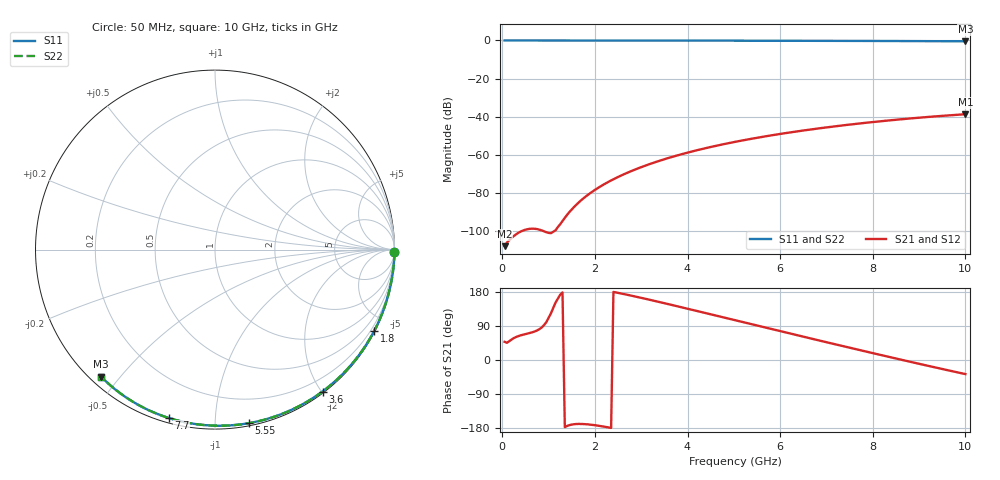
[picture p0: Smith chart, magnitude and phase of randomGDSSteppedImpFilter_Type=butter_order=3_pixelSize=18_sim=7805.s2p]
! freq	dB(S11)	phase(S11)	dB(S12)	phase(S12)
!  dB(S21)	phase(S21)	dB(S22)	phase(S22)
!S-par simulation data
#  GHz  S  DB  R 50
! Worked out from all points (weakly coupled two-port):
!   200 points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, 50 MHz to 10 GHz, reference 50 ohm
!   highest |S21| = -38.65 dB at 10 GHz (marker M1); lowest = -107.8 dB at 50 MHz (marker M2)
!   lowest |S11| = -0.4 dB at 10 GHz (marker M3), VSWR 39.48, Z = 1.52 - j22.3 ohm
!   |S11| at or under -10 dB: nowhere
!   |S22| runs from -0.4 to 0.0 dB; largest |S21 - S12| = 0
!   S11 on the Smith chart (normalised r, x): 50 MHz: open; 1.8 GHz: 0.04, -4.16; 3.6 GHz: 0.02, -2.01; 5.55 GHz: 0.02, -1.21; 7.7 GHz: 0.02, -0.76; 10 GHz: 0.03, -0.45
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0.05  -0.00 -0.8  -107.77 48.0  -107.77 48.0  -0.00 -0.8
0.9  -0.02 -13.6  -99.99 92.0  -99.99 92.0  -0.02 -13.6
1.75  -0.03 -26.3  -82.75 -169.0  -82.75 -169.0  -0.03 -26.3
1.8  -0.03 -27.0  -81.78 -169.4  -81.78 -169.4  -0.03 -27.0
1.9  -0.04 -28.5  -79.96 -170.5  -79.96 -170.5  -0.04 -28.5
2.05  -0.04 -30.7  -77.51 -172.9  -77.51 -172.9  -0.04 -30.7
2.25  -0.04 -33.6  -74.63 -177.0  -74.63 -177.0  -0.04 -33.6
2.45  -0.05 -36.5  -72.09 178.4  -72.09 178.4  -0.05 -36.5
2.65  -0.05 -39.4  -69.83 173.4  -69.83 173.4  -0.05 -39.4
3  -0.06 -44.4  -66.36 164.0  -66.36 164.0  -0.06 -44.4
3.4  -0.07 -50.1  -62.98 152.8  -62.98 152.8  -0.07 -50.1
3.6  -0.07 -52.9  -61.48 147.0  -61.48 147.0  -0.07 -52.9
3.9  -0.08 -57.0  -59.40 138.3  -59.40 138.3  -0.08 -57.0
4.3  -0.09 -62.5  -56.94 126.5  -56.94 126.5  -0.09 -62.5
5.05  -0.11 -72.5  -53.00 104.3  -53.00 104.3  -0.11 -72.5
5.55  -0.13 -78.9  -50.77 89.4  -50.77 89.4  -0.13 -78.9
6.1  -0.15 -85.9  -48.60 73.2  -48.60 73.2  -0.15 -85.9
6.7  -0.18 -93.4  -46.50 55.6  -46.50 55.6  -0.18 -93.4
7.7  -0.24 -105.4  -43.52 26.7  -43.52 26.7  -0.24 -105.4
8.35  -0.29 -113.1  -41.88 8.2  -41.88 8.2  -0.29 -113.1
9.15  -0.36 -122.3  -40.16 -14.2  -40.16 -14.2  -0.36 -122.3
10  -0.44 -131.9  -38.65 -37.2  -38.65 -37.2  -0.44 -131.9
